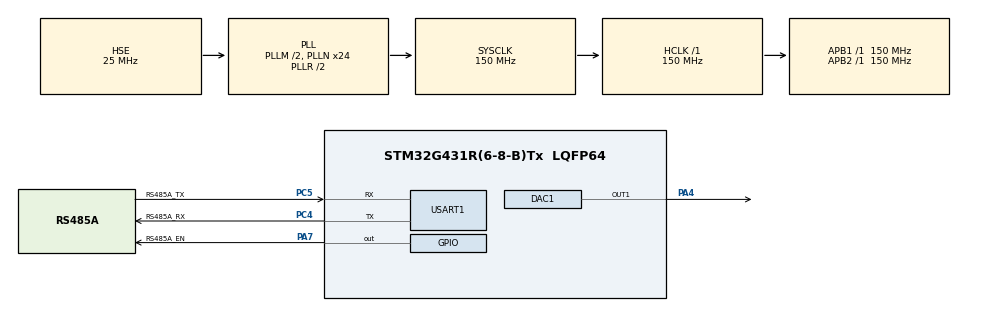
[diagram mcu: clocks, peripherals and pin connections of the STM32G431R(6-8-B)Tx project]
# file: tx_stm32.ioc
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DAC1.DAC_HighFrequency_OUT1-DAC_OUT1=DAC_HIGH_FREQUENCY_INTERFACE_MODE_AUTOMATIC
DAC1.DAC_Trigger_OUT1-DAC_OUT1=DAC_TRIGGER_T4_TRGO
Dma.DAC1_CH1.0.Direction=DMA_MEMORY_TO_PERIPH
Dma.DAC1_CH1.0.EventEnable=DISABLE
Dma.DAC1_CH1.0.Instance=DMA1_Channel1
Dma.DAC1_CH1.0.MemDataAlignment=DMA_MDATAALIGN_HALFWORD
Dma.DAC1_CH1.0.MemInc=DMA_MINC_ENABLE
Dma.DAC1_CH1.0.Mode=DMA_CIRCULAR
Dma.DAC1_CH1.0.PeriphDataAlignment=DMA_PDATAALIGN_WORD
Dma.DAC1_CH1.0.PeriphInc=DMA_PINC_DISABLE
Dma.DAC1_CH1.0.Polarity=HAL_DMAMUX_REQ_GEN_RISING
Dma.DAC1_CH1.0.Priority=DMA_PRIORITY_VERY_HIGH
Dma.DAC1_CH1.0.RequestNumber=1
Dma.DAC1_CH1.0.SignalID=NONE
Dma.DAC1_CH1.0.SyncEnable=DISABLE
Dma.DAC1_CH1.0.SyncPolarity=HAL_DMAMUX_SYNC_NO_EVENT
Dma.DAC1_CH1.0.SyncRequestNumber=1
Dma.DAC1_CH1.0.SyncSignalID=NONE
Dma.Request0=DAC1_CH1
Mcu.Family=STM32G4
Mcu.Name=STM32G431R(6-8-B)Tx
Mcu.Package=LQFP64
NVIC.DMA1_Channel1_IRQn=true\:0\:0\:false\:false\:true\:false\:true\:true
NVIC.PriorityGroup=NVIC_PRIORITYGROUP_4
NVIC.USART1_IRQn=true\:1\:0\:true\:false\:true\:true\:true\:true
PA13.Mode=Serial_Wire
PA13.Signal=SYS_JTMS-SWDIO
PA14.Mode=Serial_Wire
PA14.Signal=SYS_JTCK-SWCLK
PA4.Signal=COMP_DAC11_group
PA7.GPIO_Label=RS485A_EN
PA7.PinState=GPIO_PIN_RESET
PA7.Signal=GPIO_Output
PC4.GPIO_Label=RS485A_RX
PC4.Mode=Asynchronous
PC4.Signal=USART1_TX
PC5.GPIO_Label=RS485A_TX
PC5.Mode=Asynchronous
PC5.Signal=USART1_RX
PF0-OSC_IN.Mode=HSE-External-Clock-Source
PF0-OSC_IN.Signal=RCC_OSC_IN
ProjectManager.HeapSize=0x200
ProjectManager.StackSize=0x400
ProjectManager.TargetToolchain=STM32CubeIDE
RCC.ADC12Freq_Value=150000000
RCC.AHBFreq_Value=150000000
RCC.APB1Freq_Value=150000000
RCC.APB1TimFreq_Value=150000000
RCC.APB2Freq_Value=150000000
RCC.APB2TimFreq_Value=150000000
RCC.CortexFreq_Value=150000000
RCC.EXTERNAL_CLOCK_VALUE=12288000
RCC.HCLKFreq_Value=150000000
RCC.HSE_VALUE=25000000
RCC.HSI48_VALUE=48000000
RCC.HSI_VALUE=16000000
RCC.LSE_VALUE=32768
RCC.PLLM=RCC_PLLM_DIV2
RCC.PLLN=24
RCC.PLLSourceVirtual=RCC_PLLSOURCE_HSE
RCC.SYSCLKFreq_VALUE=150000000
RCC.SYSCLKSource=RCC_SYSCLKSOURCE_PLLCLK
RCC.USBFreq_Value=150000000
RCC.VCOOutputFreq_Value=300000000
SH.COMP_DAC11_group.0=DAC1_OUT1,DAC_OUT1
TIM4.PeriodNoDither=624
TIM4.Prescaler=4
TIM4.TIM_MasterOutputTrigger=TIM_TRGO_UPDATE
USART1.SwapParam-Asynchronous=ADVFEATURE_SWAP_ENABLE
USART1.VirtualMode-Asynchronous=VM_ASYNC
VP_TIM4_VS_ClockSourceINT.Mode=Internal
board=custom

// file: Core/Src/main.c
/* USER CODE BEGIN Header */
/**
  ******************************************************************************
  * @file           : main.c
  * @brief          : Main program body
  ******************************************************************************
  * @attention
  *
  * Copyright (c) 2026 STMicroelectronics.
  * All rights reserved.
  *
  * This software is licensed under terms that can be found in the LICENSE file
  * in the root directory of this software component.
  * If no LICENSE file comes with this software, it is provided AS-IS.
  *
  ******************************************************************************
  */
/* USER CODE END Header */
#include "main.h"

/* USER CODE BEGIN Includes */
#include "fsk_tx.h"
#include "rs485_half_duplex.h"

#include <stdio.h>
#include <string.h>
/* USER CODE END Includes */

/* USER CODE BEGIN PD */
#define FSK_UART_RX_RING_SIZE 256U
#define FSK_UART_RX_RING_MASK (FSK_UART_RX_RING_SIZE - 1U)
#define FSK_UART_DIAG_BAD_BYTES 32U
#define FSK_UART_LINE_MAX_LENGTH UINT16_MAX
#if defined(__OPTIMIZE__)
#define FSK_UART_DIAG_OPTIMIZED 1U
#else
#define FSK_UART_DIAG_OPTIMIZED 0U
#endif
/* USER CODE END PD */

DAC_HandleTypeDef hdac1;
DMA_HandleTypeDef hdma_dac1_ch1;

TIM_HandleTypeDef htim4;

UART_HandleTypeDef huart1;

/* USER CODE BEGIN PV */
static char fsk_uart_line[160];
static char fsk_uart_response[320];
static uint16_t fsk_uart_line_length;
static rs485_half_duplex_t rs485a;
static uint8_t fsk_uart_irq_byte;
static uint8_t fsk_uart_rx_ring[FSK_UART_RX_RING_SIZE];
static volatile uint16_t fsk_uart_rx_head;
static volatile uint16_t fsk_uart_rx_tail;
static volatile uint32_t fsk_uart_error_count;
static volatile uint32_t fsk_uart_overflow_count;
static volatile uint32_t fsk_uart_ore_count, fsk_uart_fe_count;
static volatile uint32_t fsk_uart_ne_count, fsk_uart_pe_count;
static volatile uint32_t fsk_uart_rearm_fail_count, fsk_uart_tx_error_count;
static volatile uint32_t fsk_uart_line_overflow_count;
static volatile uint32_t fsk_uart_command_error_count;
static uint8_t fsk_uart_line_overflowed;
static uint8_t fsk_uart_last_bad[FSK_UART_DIAG_BAD_BYTES];
static uint16_t fsk_uart_last_bad_length;
static uint8_t fsk_uart_last_bad_count;
static uint16_t fsk_uart_line_total_length;
/* Separate from the unchanged normal-command response buffer. */
static char fsk_uart_diag_response[512];
/* USER CODE END PV */

void SystemClock_Config(void);
static void MX_GPIO_Init(void);
static void MX_DMA_Init(void);
static void MX_DAC1_Init(void);
static void MX_USART1_UART_Init(void);
static void MX_TIM4_Init(void);

/* USER CODE BEGIN 0 */
static void FskUart_RecordHardwareErrors(uint32_t error)
{
  if ((error & HAL_UART_ERROR_ORE) != 0U) ++fsk_uart_ore_count;
  if ((error & HAL_UART_ERROR_FE) != 0U) ++fsk_uart_fe_count;
  if ((error & HAL_UART_ERROR_NE) != 0U) ++fsk_uart_ne_count;
  if ((error & HAL_UART_ERROR_PE) != 0U) ++fsk_uart_pe_count;
}

static void FskUart_RememberBadLine(const char *line,
                                    uint16_t captured_length,
                                    uint16_t total_length)
{
  uint16_t count = (captured_length > FSK_UART_DIAG_BAD_BYTES) ?
                   FSK_UART_DIAG_BAD_BYTES : captured_length;
  memset(fsk_uart_last_bad, 0, sizeof(fsk_uart_last_bad));
  memcpy(fsk_uart_last_bad, line, count);
  fsk_uart_last_bad_count = (uint8_t)count;
  fsk_uart_last_bad_length = total_length;
}

static void FskUart_Transmit(const char *text)
{
  if (rs485_half_duplex_transmit(&rs485a, (const uint8_t *)text,
                                (uint16_t)strlen(text), 100U) != HAL_OK)
  {
    ++fsk_uart_tx_error_count;
  }
}

static void FskUart_SendDiagnostics(void)
{
  static const char hex[] = "0123456789ABCDEF";
  FskTx_Status status;
  uint32_t saved_irq, rxerr, rxovf, ore, fe, ne, pe, rearm;
  int written;
  size_t used;
  uint16_t index, count;

  /* Snapshot interrupt-owned counters; formatting never masks interrupts. */
  saved_irq = __get_PRIMASK();
  __disable_irq();
  rxerr = fsk_uart_error_count; rxovf = fsk_uart_overflow_count;
  ore = fsk_uart_ore_count; fe = fsk_uart_fe_count;
  ne = fsk_uart_ne_count; pe = fsk_uart_pe_count;
  rearm = fsk_uart_rearm_fail_count;
  if (saved_irq == 0U) __enable_irq();
  FskTx_GetStatus(&status);
  written = snprintf(fsk_uart_diag_response, sizeof(fsk_uart_diag_response),
      "OK UART DIAG rxerr=%lu rxovf=%lu lineovf=%lu cmderr=%lu "
      "ore=%lu fe=%lu ne=%lu pe=%lu rearmfail=%lu txerr=%lu "
      "badlen=%u badcap=%u badhex=",
      (unsigned long)rxerr, (unsigned long)rxovf,
      (unsigned long)fsk_uart_line_overflow_count,
      (unsigned long)fsk_uart_command_error_count,
      (unsigned long)ore, (unsigned long)fe, (unsigned long)ne,
      (unsigned long)pe, (unsigned long)rearm,
      (unsigned long)fsk_uart_tx_error_count,
      (unsigned)fsk_uart_last_bad_length, (unsigned)fsk_uart_last_bad_count);
  if ((written < 0) || ((size_t)written >= sizeof(fsk_uart_diag_response)))
  {
    (void)strcpy(fsk_uart_diag_response, "ERR UART DIAG BUFFER\r\n");
  }
  else
  {
    used = (size_t)written;
    count = fsk_uart_last_bad_count;
    for (index = 0U; index < count && (used + 2U) < sizeof(fsk_uart_diag_response); ++index)
    {
      fsk_uart_diag_response[used++] = hex[fsk_uart_last_bad[index] >> 4U];
      fsk_uart_diag_response[used++] = hex[fsk_uart_last_bad[index] & 0x0FU];
    }
    written = snprintf(&fsk_uart_diag_response[used], sizeof(fsk_uart_diag_response) - used,
        " rendermax=%lu uartbudget=%lu renderlate=%lu renders=%lu dwt=%u hclk=%lu schema=1 opt=%u\r\n",
        (unsigned long)status.render_max_cycles,
        (unsigned long)status.render_uart_budget_cycles,
        (unsigned long)status.render_over_uart_budget_count,
        (unsigned long)status.render_call_count,
        (unsigned)status.render_cycle_counter_available,
        (unsigned long)HAL_RCC_GetHCLKFreq(), (unsigned)FSK_UART_DIAG_OPTIMIZED);
    if ((written < 0) || ((size_t)written >= sizeof(fsk_uart_diag_response) - used))
      (void)strcpy(fsk_uart_diag_response, "ERR UART DIAG BUFFER\r\n");
  }
  FskUart_Transmit(fsk_uart_diag_response);
}

static void FskUart_ProcessByte(uint8_t byte)
{
  if ((byte == '\r') || (byte == '\n'))
  {
    if (fsk_uart_line_length == 0U)
    {
      if (fsk_uart_line_overflowed != 0U)
      {
        ++fsk_uart_line_overflow_count;
        FskUart_RememberBadLine(fsk_uart_line, fsk_uart_line_length,
                                fsk_uart_line_total_length);
        fsk_uart_line_overflowed = 0U;
        fsk_uart_line_total_length = 0U;
      }
      return;
    }

    HAL_Delay(1U);
    fsk_uart_line[fsk_uart_line_length] = '\0';
    if (fsk_uart_line_overflowed != 0U)
    {
      ++fsk_uart_line_overflow_count;
      FskUart_RememberBadLine(fsk_uart_line, fsk_uart_line_length,
                              fsk_uart_line_total_length);
    }
    if ((fsk_uart_line_overflowed == 0U) &&
        (strcmp(fsk_uart_line, "UART DIAG") == 0))
    {
      FskUart_SendDiagnostics();
    }
    else
    {
      FskTx_Result command_result = FskTx_HandleUartCommand(
          fsk_uart_line, fsk_uart_response, sizeof(fsk_uart_response));
      if (command_result == FSK_TX_ERROR_COMMAND)
      {
        ++fsk_uart_command_error_count;
        FskUart_RememberBadLine(fsk_uart_line, fsk_uart_line_length,
                                fsk_uart_line_total_length);
      }
      FskUart_Transmit(fsk_uart_response);
    }
    fsk_uart_line_overflowed = 0U;
    fsk_uart_line_length = 0U;
    fsk_uart_line_total_length = 0U;
    return;
  }

  if ((byte == 0x08U) || (byte == 0x7FU))
  {
    if (fsk_uart_line_length != 0U)
    {
      --fsk_uart_line_length;
    }
    return;
  }

  if ((byte >= 0x20U) && (byte <= 0x7EU) &&
      (fsk_uart_line_length < (sizeof(fsk_uart_line) - 1U)))
  {
    fsk_uart_line[fsk_uart_line_length++] = (char)byte;
    if (fsk_uart_line_total_length < FSK_UART_LINE_MAX_LENGTH)
    {
      ++fsk_uart_line_total_length;
    }
  }
  else if ((byte >= 0x20U) && (byte <= 0x7EU))
  {
    fsk_uart_line_overflowed = 1U;
    if (fsk_uart_line_total_length < FSK_UART_LINE_MAX_LENGTH)
    {
      ++fsk_uart_line_total_length;
    }
  }
}

static void FskUart_Service(void)
{
  while (fsk_uart_rx_tail != fsk_uart_rx_head)
  {
    uint8_t byte = fsk_uart_rx_ring[fsk_uart_rx_tail];
    fsk_uart_rx_tail = (uint16_t)((fsk_uart_rx_tail + 1U) &
                                  FSK_UART_RX_RING_MASK);
    FskUart_ProcessByte(byte);
  }
}
/* USER CODE END 0 */

int main(void)
{

  /* MCU Configuration--------------------------------------------------------*/

  /* Reset of all peripherals, Initializes the Flash interface and the Systick. */
  HAL_Init();

  /* Configure the system clock */
  SystemClock_Config();

  /* Initialize all configured peripherals */
  MX_GPIO_Init();
  MX_DMA_Init();
  MX_DAC1_Init();
  MX_USART1_UART_Init();
  MX_TIM4_Init();
  /* USER CODE BEGIN 2 */
  if (rs485_half_duplex_init(&rs485a, &huart1,
                             RS485A_EN_GPIO_Port, RS485A_EN_Pin) != HAL_OK)
  {
    Error_Handler();
  }
  if (HAL_UART_Receive_IT(&huart1, &fsk_uart_irq_byte, 1U) != HAL_OK)
  {
    Error_Handler();
  }
  if (FskTx_Init(&hdac1, &htim4) != FSK_TX_OK)
  {
    Error_Handler();
  }

#if defined(FSK_TX_BOOT_TEST_TONE1700)
  (void)FskTx_SelectMode(FSK_TX_MODE_TONE_1700);
  (void)FskTx_Start();
#elif defined(FSK_TX_BOOT_TEST_TONE1900)
  (void)FskTx_SelectMode(FSK_TX_MODE_TONE_1900);
  (void)FskTx_Start();
#elif defined(FSK_TX_BOOT_TEST_ALT)
  (void)FskTx_SelectMode(FSK_TX_MODE_ALTERNATING_01);
  (void)FskTx_Start();
#endif

/* USER CODE END 2 */

  /* Infinite loop */
  while (1)
  {

    /* USER CODE BEGIN 3 */
    FskUart_Service();
  }
  /* USER CODE END 3 */
}

void SystemClock_Config(void)
{
  RCC_OscInitTypeDef RCC_OscInitStruct = {0};
  RCC_ClkInitTypeDef RCC_ClkInitStruct = {0};

  /** Configure the main internal regulator output voltage
  */
  HAL_PWREx_ControlVoltageScaling(PWR_REGULATOR_VOLTAGE_SCALE1);

  /** Initializes the RCC Oscillators according to the specified parameters
  * in the RCC_OscInitTypeDef structure.
  */
  RCC_OscInitStruct.OscillatorType = RCC_OSCILLATORTYPE_HSE;
  RCC_OscInitStruct.HSEState = RCC_HSE_BYPASS;
  RCC_OscInitStruct.PLL.PLLState = RCC_PLL_ON;
  RCC_OscInitStruct.PLL.PLLSource = RCC_PLLSOURCE_HSE;
  RCC_OscInitStruct.PLL.PLLM = RCC_PLLM_DIV2;
  RCC_OscInitStruct.PLL.PLLN = 24;
  RCC_OscInitStruct.PLL.PLLP = RCC_PLLP_DIV2;
  RCC_OscInitStruct.PLL.PLLQ = RCC_PLLQ_DIV2;
  RCC_OscInitStruct.PLL.PLLR = RCC_PLLR_DIV2;
  if (HAL_RCC_OscConfig(&RCC_OscInitStruct) != HAL_OK)
  {
    Error_Handler();
  }

  /** Initializes the CPU, AHB and APB buses clocks
  */
  RCC_ClkInitStruct.ClockType = RCC_CLOCKTYPE_HCLK|RCC_CLOCKTYPE_SYSCLK
                              |RCC_CLOCKTYPE_PCLK1|RCC_CLOCKTYPE_PCLK2;
  RCC_ClkInitStruct.SYSCLKSource = RCC_SYSCLKSOURCE_PLLCLK;
  RCC_ClkInitStruct.AHBCLKDivider = RCC_SYSCLK_DIV1;
  RCC_ClkInitStruct.APB1CLKDivider = RCC_HCLK_DIV1;
  RCC_ClkInitStruct.APB2CLKDivider = RCC_HCLK_DIV1;

  if (HAL_RCC_ClockConfig(&RCC_ClkInitStruct, FLASH_LATENCY_4) != HAL_OK)
  {
    Error_Handler();
  }
}

static void MX_DAC1_Init(void)
{

  DAC_ChannelConfTypeDef sConfig = {0};

  /** DAC Initialization
  */
  hdac1.Instance = DAC1;
  if (HAL_DAC_Init(&hdac1) != HAL_OK)
  {
    Error_Handler();
  }

  /** DAC channel OUT1 config
  */
  sConfig.DAC_HighFrequency = DAC_HIGH_FREQUENCY_INTERFACE_MODE_AUTOMATIC;
  sConfig.DAC_DMADoubleDataMode = DISABLE;
  sConfig.DAC_SignedFormat = DISABLE;
  sConfig.DAC_SampleAndHold = DAC_SAMPLEANDHOLD_DISABLE;
  sConfig.DAC_Trigger = DAC_TRIGGER_T4_TRGO;
  sConfig.DAC_Trigger2 = DAC_TRIGGER_NONE;
  sConfig.DAC_OutputBuffer = DAC_OUTPUTBUFFER_ENABLE;
  sConfig.DAC_ConnectOnChipPeripheral = DAC_CHIPCONNECT_EXTERNAL;
  sConfig.DAC_UserTrimming = DAC_TRIMMING_FACTORY;
  if (HAL_DAC_ConfigChannel(&hdac1, &sConfig, DAC_CHANNEL_1) != HAL_OK)
  {
    Error_Handler();
  }

}

static void MX_TIM4_Init(void)
{

  TIM_ClockConfigTypeDef sClockSourceConfig = {0};
  TIM_MasterConfigTypeDef sMasterConfig = {0};

  htim4.Instance = TIM4;
  htim4.Init.Prescaler = 4;
  htim4.Init.CounterMode = TIM_COUNTERMODE_UP;
  htim4.Init.Period = 624;
  htim4.Init.ClockDivision = TIM_CLOCKDIVISION_DIV1;
  htim4.Init.AutoReloadPreload = TIM_AUTORELOAD_PRELOAD_DISABLE;
  if (HAL_TIM_Base_Init(&htim4) != HAL_OK)
  {
    Error_Handler();
  }
  sClockSourceConfig.ClockSource = TIM_CLOCKSOURCE_INTERNAL;
  if (HAL_TIM_ConfigClockSource(&htim4, &sClockSourceConfig) != HAL_OK)
  {
    Error_Handler();
  }
  sMasterConfig.MasterOutputTrigger = TIM_TRGO_UPDATE;
  sMasterConfig.MasterSlaveMode = TIM_MASTERSLAVEMODE_DISABLE;
  if (HAL_TIMEx_MasterConfigSynchronization(&htim4, &sMasterConfig) != HAL_OK)
  {
    Error_Handler();
  }

}

static void MX_USART1_UART_Init(void)
{

  huart1.Instance = USART1;
  huart1.Init.BaudRate = 115200;
  huart1.Init.WordLength = UART_WORDLENGTH_8B;
  huart1.Init.StopBits = UART_STOPBITS_1;
  huart1.Init.Parity = UART_PARITY_NONE;
  huart1.Init.Mode = UART_MODE_TX_RX;
  huart1.Init.HwFlowCtl = UART_HWCONTROL_NONE;
  huart1.Init.OverSampling = UART_OVERSAMPLING_16;
  huart1.Init.OneBitSampling = UART_ONE_BIT_SAMPLE_DISABLE;
  huart1.Init.ClockPrescaler = UART_PRESCALER_DIV1;
  huart1.AdvancedInit.AdvFeatureInit = UART_ADVFEATURE_SWAP_INIT;
  huart1.AdvancedInit.Swap = UART_ADVFEATURE_SWAP_ENABLE;
  if (HAL_UART_Init(&huart1) != HAL_OK)
  {
    Error_Handler();
  }
  if (HAL_UARTEx_SetTxFifoThreshold(&huart1, UART_TXFIFO_THRESHOLD_1_8) != HAL_OK)
  {
    Error_Handler();
  }
  if (HAL_UARTEx_SetRxFifoThreshold(&huart1, UART_RXFIFO_THRESHOLD_1_8) != HAL_OK)
  {
    Error_Handler();
  }
  if (HAL_UARTEx_DisableFifoMode(&huart1) != HAL_OK)
  {
    Error_Handler();
  }

}

static void MX_DMA_Init(void)
{

  /* DMA controller clock enable */
  __HAL_RCC_DMAMUX1_CLK_ENABLE();
  __HAL_RCC_DMA1_CLK_ENABLE();

  /* DMA interrupt init */
  /* DMA1_Channel1_IRQn interrupt configuration */
  HAL_NVIC_SetPriority(DMA1_Channel1_IRQn, 0, 0);
  HAL_NVIC_EnableIRQ(DMA1_Channel1_IRQn);

}

static void MX_GPIO_Init(void)
{
  GPIO_InitTypeDef GPIO_InitStruct = {0};

  /* GPIO Ports Clock Enable */
  __HAL_RCC_GPIOF_CLK_ENABLE();
  __HAL_RCC_GPIOA_CLK_ENABLE();
  __HAL_RCC_GPIOC_CLK_ENABLE();

  HAL_GPIO_WritePin(RS485A_EN_GPIO_Port, RS485A_EN_Pin, GPIO_PIN_RESET);

  GPIO_InitStruct.Pin = RS485A_EN_Pin;
  GPIO_InitStruct.Mode = GPIO_MODE_OUTPUT_PP;
  GPIO_InitStruct.Pull = GPIO_NOPULL;
  GPIO_InitStruct.Speed = GPIO_SPEED_FREQ_LOW;
  HAL_GPIO_Init(RS485A_EN_GPIO_Port, &GPIO_InitStruct);

}

/* USER CODE BEGIN 4 */
void HAL_UART_RxCpltCallback(UART_HandleTypeDef *huart)
{
  if (huart == &huart1)
  {
    /* HAL's one-byte RxISR can call us with an error already set. Rearming
       below clears ErrorCode, before HAL_UART_IRQHandler checks it again;
       that path does not necessarily reach HAL_UART_ErrorCallback. */
    uint32_t receive_error = huart->ErrorCode;
    uint16_t next = (uint16_t)((fsk_uart_rx_head + 1U) &
                               FSK_UART_RX_RING_MASK);

    if (receive_error != HAL_UART_ERROR_NONE)
    {
      FskUart_RecordHardwareErrors(receive_error);
      ++fsk_uart_error_count;
    }

    if (next != fsk_uart_rx_tail)
    {
      fsk_uart_rx_ring[fsk_uart_rx_head] = fsk_uart_irq_byte;
      fsk_uart_rx_head = next;
    }
    else
    {
      ++fsk_uart_overflow_count;
    }

    if (HAL_UART_Receive_IT(&huart1, &fsk_uart_irq_byte, 1U) != HAL_OK)
    {
      ++fsk_uart_error_count;
      ++fsk_uart_rearm_fail_count;
    }
  }
}

void HAL_UART_ErrorCallback(UART_HandleTypeDef *huart)
{
  if (huart == &huart1)
  {
    uint32_t error = huart->ErrorCode;
    FskUart_RecordHardwareErrors(error);
    ++fsk_uart_error_count;
    __HAL_UART_CLEAR_OREFLAG(&huart1);
    if (HAL_UART_Receive_IT(&huart1, &fsk_uart_irq_byte, 1U) != HAL_OK)
    {
      ++fsk_uart_rearm_fail_count;
    }
  }
}

/* USER CODE END 4 */

void Error_Handler(void)
{
  __disable_irq();
  while (1)
  {
  }
}
